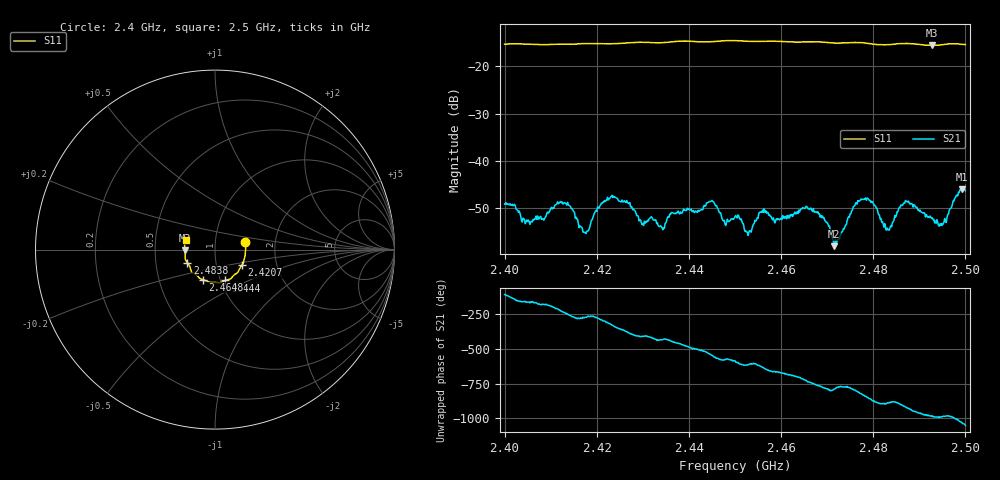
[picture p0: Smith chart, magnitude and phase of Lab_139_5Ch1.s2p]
# Hz S RI R 50
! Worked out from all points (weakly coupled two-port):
!   601 points, 2.4 GHz to 2.5 GHz, reference 50 ohm
!   highest |S21| = -45.99 dB at 2.4993 GHz (marker M1); lowest = -58.0 dB at 2.4715 GHz (marker M2)
!   lowest |S11| = -15.6 dB at 2.4928 GHz (marker M3), VSWR 1.40, Z = 35.7 - j0.315 ohm
!   |S11| at or under -10 dB: start of sweep to end of sweep
!   S12 and S22 are empty: the file has one direction only
!   S11 on the Smith chart (normalised r, x): 2.4 GHz: 1.39, +0.12; 2.4207 GHz: 1.33, -0.24; 2.444 GHz: 1.05, -0.37; 2.4648 GHz: 0.83, -0.29; 2.4838 GHz: 0.73, -0.11; 2.5 GHz: 0.72, +0.08
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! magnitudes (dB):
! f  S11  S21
! 2.4 GHz  -15.3  -49.1
! 2.4055 GHz  -15.3  -53.4
! 2.4133 GHz  -15.3  -49.0
! 2.4167 GHz  -15.2  -54.0
! 2.4207 GHz  -15.2  -49.5
! 2.4238 GHz  -15.2  -47.7
! 2.4333 GHz  -15.0  -53.7
! 2.444 GHz  -14.8  -48.9
! 2.45 GHz  -14.6  -51.8
! 2.453 GHz  -14.7  -55.0
! 2.4558 GHz  -14.7  -50.9
! 2.4648 GHz  -14.9  -50.0
! 2.4667 GHz  -14.8  -50.4
! 2.4715 GHz  -15.1  -58.0
! 2.4778 GHz  -15.0  -48.2
! 2.4833 GHz  -15.4  -54.5
! 2.4838 GHz  -15.4  -53.7
! 2.4872 GHz  -15.2  -48.6
! 2.4928 GHz  -15.6  -52.0
! 2.4953 GHz  -15.4  -53.0
! 2.4993 GHz  -15.4  -46.0
! 2.5 GHz  -15.4  -46.3
